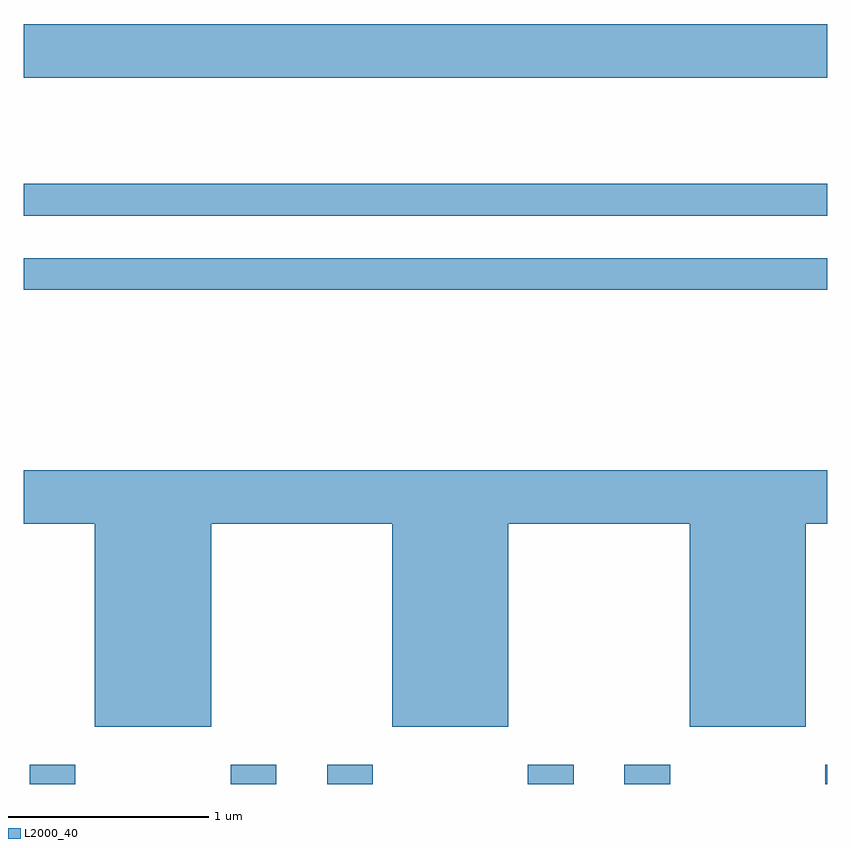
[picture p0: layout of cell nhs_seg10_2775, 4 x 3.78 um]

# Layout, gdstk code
import gdstk
lib = gdstk.Library(unit=1e-6, precision=1e-09)
def R(c, l, rs):  # rectangles x0, y0, x1, y1
    for r in rs: c.add(gdstk.rectangle(r[:2], r[2:], *l))
def P(c, l, *ps):  # polygons
    for p in ps: c.add(gdstk.Polygon(p, *l))
L2000_40 = (2000, 40)

nhs_seg10_2775 = lib.new_cell('nhs_seg10_2775')
R(nhs_seg10_2775, L2000_40, [(265.641,2212.522,265.869,2212.619), (266.641,2212.522,266.869,2212.619), (267.121,2212.522,267.349,2212.619), (268.121,2212.522,268.349,2212.619), (268.601,2212.522,268.829,2212.619), (269.601,2212.522,269.611,2212.619), (265.611,2214.981,269.611,2215.139), (265.611,2215.351,269.611,2215.509), (265.611,2216.036,269.611,2216.304)])
P(nhs_seg10_2775, L2000_40, [(266.544,2213.816),(267.446,2213.816),(267.446,2212.806),(268.024,2212.806),(268.024,2213.816),(268.926,2213.816),(268.926,2212.806),(269.504,2212.806),(269.504,2213.816),(269.611,2213.816),(269.611,2214.084),(265.611,2214.084),(265.611,2213.816),(265.966,2213.816),(265.966,2212.806),(266.544,2212.806)])

lib.write_gds('nhs_seg10_2775.gds')
